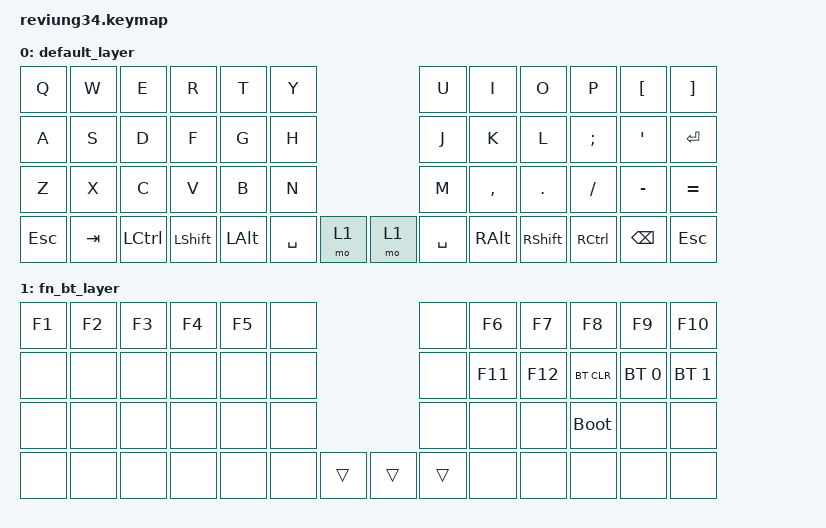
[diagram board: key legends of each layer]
/*
 * Copyright (c) 2023 The ZMK Contributors
 *
 * SPDX-License-Identifier: MIT
 */

#include <behaviors.dtsi>
#include <dt-bindings/zmk/bt.h>
#include <dt-bindings/zmk/keys.h>
#include <dt-bindings/zmk/rgb.h>

/ {
    chosen {
        // 34 keys.
        zmk,matrix-transform = &dual_1u_transform;

        // 33 keys. Center two thumb keys replaced by a single 2u key. Remember to adjust your
        // keymap accordingly!
        // zmk,matrix-transform = &single_2u_transform;
    };
};

/ {
    keymap {
    compatible = "zmk,keymap";

    // Base layer
    default_layer {
        bindings = <
            // Left hand (rows 0–3)
            &kp Q     &kp W     &kp E     &kp R     &kp T     &kp Y                    &kp U     &kp I     &kp O     &kp P     &kp LBKT &kp RBKT
            &kp A     &kp S     &kp D     &kp F     &kp G     &kp H                    &kp J     &kp K     &kp L     &kp SCLN  &kp QUOT &kp ENTER
            &kp Z     &kp X     &kp C     &kp V     &kp B     &kp N                    &kp M     &kp COMMA &kp DOT   &kp FSLH  &kp MINUS &kp EQUAL
            &kp ESC   &kp TAB   &kp LCTRL &kp LSHIFT &kp LALT &kp SPACE &mo 1   &mo 1  &kp SPACE &kp RALT  &kp RSHIFT &kp RCTRL &kp BSPC &kp ESC
        >;
    };

    // Layer 1: Function + Bluetooth
    fn_bt_layer {
        bindings = <
            // Left hand
            &kp F1    &kp F2    &kp F3    &kp F4    &kp F5    &none                   &none     &kp F6    &kp F7    &kp F8    &kp F9    &kp F10
            &none     &none     &none     &none     &none     &none                   &none     &kp F11   &kp F12   &bt BT_CLR &bt BT_SEL 0 &bt BT_SEL 1
            &none     &none     &none     &none     &none     &none                   &none     &none     &none     &bootloader &none &none
            &none     &none     &none     &none     &none     &none  &trans   &trans  &trans    &none     &none     &none     &none     &none
        >;
    };
    };
};
